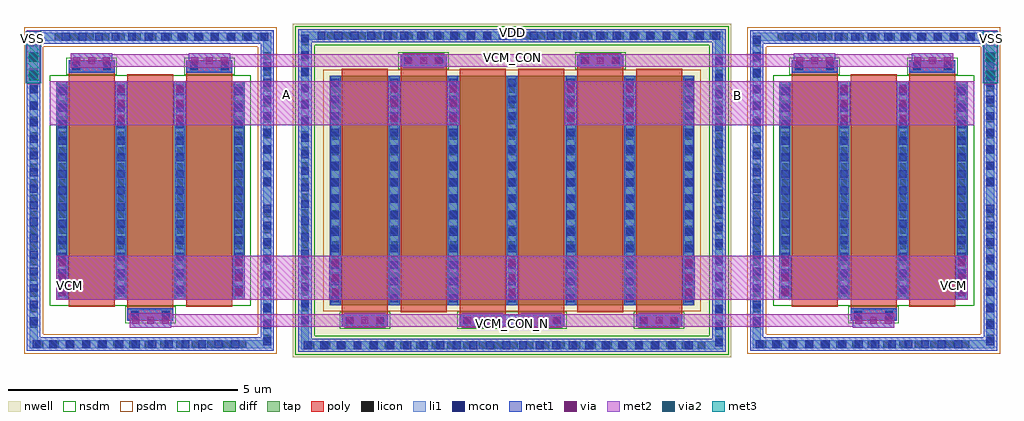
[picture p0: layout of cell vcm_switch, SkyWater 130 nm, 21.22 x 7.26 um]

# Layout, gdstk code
from math import pi, radians
import gdstk
lib = gdstk.Library(unit=1e-6, precision=1e-09)
def R(c, l, rs):  # rectangles x0, y0, x1, y1
    for r in rs: c.add(gdstk.rectangle(r[:2], r[2:], *l))
def A(c, l, x, y, w, h, nx, ny, dx, dy):  # array of equal rectangles
    R(c, l, [(x+i*dx, y+j*dy, x+i*dx+w, y+j*dy+h) for i in range(nx) for j in range(ny)])
nwell = (64, 20)
diff = (65, 20)
tap = (65, 44)
poly = (66, 20)
licon = (66, 44)
li1 = (67, 20)
mcon = (67, 44)
met1 = (68, 20)
via = (68, 44)
met2 = (69, 20)
via2 = (69, 44)
met3 = (70, 20)
nsdm = (93, 44)
psdm = (94, 20)
npc = (95, 20)

pfet_01v8_cdns_788112285 = lib.new_cell('pfet_01v8_CDNS_788112285921')
R(pfet_01v8_cdns_788112285, nwell, [(-0.235,-0.18,1.235,5.18)])
R(pfet_01v8_cdns_788112285, diff, [(-0.055,0,0,5), (0,0,1,5), (1,0,1.055,5)])
R(pfet_01v8_cdns_788112285, poly, [(0,-0.15,1,0), (0,0,1,5), (0,5,1,5.19), (0,5.19,1,5.46)])
R(pfet_01v8_cdns_788112285, licon, [(0.08,5.24,0.25,5.41), (0.75,5.24,0.92,5.41)])
R(pfet_01v8_cdns_788112285, li1, [(0,5.21,1,5.44)])
R(pfet_01v8_cdns_788112285, mcon, [(0.08,5.24,0.25,5.41), (0.75,5.24,0.92,5.41)])
R(pfet_01v8_cdns_788112285, met1, [(0,5.19,1,5.46)])
R(pfet_01v8_cdns_788112285, psdm, [(-0.065,-0.13,1.065,5.13)])
R(pfet_01v8_cdns_788112285, npc, [(-0.05,5.14,1.05,5.51)])

nfet_01v8_cdns_788112285 = lib.new_cell('nfet_01v8_CDNS_788112285922')
R(nfet_01v8_cdns_788112285, diff, [(-0.225,0,0,4.75), (0,0,1,4.75), (1,0,1.055,4.75)])
R(nfet_01v8_cdns_788112285, poly, [(0,-0.46,1,-0.19), (0,-0.19,1,0), (0,0,1,4.75), (0,4.75,1,4.9)])
A(nfet_01v8_cdns_788112285, licon, -0.225, 0.08, 0.17, 0.17, 1, 14, 0, 0.34)
R(nfet_01v8_cdns_788112285, licon, [(0.08,-0.41,0.25,-0.24), (0.75,-0.41,0.92,-0.24)])
R(nfet_01v8_cdns_788112285, li1, [(0,-0.44,1,-0.21), (-0.225,0,-0.055,4.75)])
A(nfet_01v8_cdns_788112285, mcon, -0.225, 0.13, 0.17, 0.17, 1, 13, 0, 0.36)
R(nfet_01v8_cdns_788112285, mcon, [(0.08,-0.41,0.25,-0.24), (0.75,-0.41,0.92,-0.24)])
R(nfet_01v8_cdns_788112285, met1, [(0,-0.46,1,-0.19), (-0.255,0,-0.025,4.75)])
R(nfet_01v8_cdns_788112285, nsdm, [(-0.235,-0.13,1.065,4.88)])
R(nfet_01v8_cdns_788112285, npc, [(-0.05,-0.51,1.05,-0.14)])

c_nfet_01v8_cdns_788112285 = lib.new_cell('nfet_01v8_CDNS_788112285923')
R(c_nfet_01v8_cdns_788112285, diff, [(-0.265,0,0,4.75), (0,0,1,4.75), (1,0,1.225,4.75)])
R(c_nfet_01v8_cdns_788112285, poly, [(0,-0.15,1,0), (0,0,1,4.75), (0,4.75,1,4.94), (0,4.94,1,5.21)])
A(c_nfet_01v8_cdns_788112285, licon, -0.225, 0.08, 0.17, 0.17, 1, 14, 0, 0.34)
A(c_nfet_01v8_cdns_788112285, licon, 1.055, 0.08, 0.17, 0.17, 1, 14, 0, 0.34)
R(c_nfet_01v8_cdns_788112285, licon, [(0.08,4.99,0.25,5.16), (0.75,4.99,0.92,5.16)])
R(c_nfet_01v8_cdns_788112285, li1, [(-0.225,0,-0.055,4.75), (1.055,0,1.225,4.75), (0,4.96,1,5.19)])
A(c_nfet_01v8_cdns_788112285, mcon, -0.225, 0.13, 0.17, 0.17, 1, 13, 0, 0.36)
A(c_nfet_01v8_cdns_788112285, mcon, 1.055, 0.13, 0.17, 0.17, 1, 13, 0, 0.36)
R(c_nfet_01v8_cdns_788112285, mcon, [(0.08,4.99,0.25,5.16), (0.75,4.99,0.92,5.16)])
R(c_nfet_01v8_cdns_788112285, met1, [(-0.255,0,-0.025,4.75), (1.025,0,1.255,4.75), (0,4.94,1,5.21)])
R(c_nfet_01v8_cdns_788112285, nsdm, [(-0.405,-0.13,1.235,4.88)])
R(c_nfet_01v8_cdns_788112285, npc, [(-0.05,4.89,1.05,5.26)])

c_pfet_01v8_cdns_788112285 = lib.new_cell('pfet_01v8_CDNS_788112285924')
R(c_pfet_01v8_cdns_788112285, nwell, [(-0.405,-0.18,1.235,5.18)])
R(c_pfet_01v8_cdns_788112285, diff, [(-0.225,0,0,5), (0,0,1,5), (1,0,1.055,5)])
R(c_pfet_01v8_cdns_788112285, poly, [(0,-0.15,1,0), (0,0,1,5), (0,5,1,5.19), (0,5.19,1,5.46)])
A(c_pfet_01v8_cdns_788112285, licon, -0.225, 0.205, 0.17, 0.17, 1, 14, 0, 0.34)
R(c_pfet_01v8_cdns_788112285, licon, [(0.08,5.24,0.25,5.41), (0.75,5.24,0.92,5.41)])
R(c_pfet_01v8_cdns_788112285, li1, [(-0.225,0,-0.055,5), (0,5.21,1,5.44)])
A(c_pfet_01v8_cdns_788112285, mcon, -0.225, 0.075, 0.17, 0.17, 1, 14, 0, 0.36)
R(c_pfet_01v8_cdns_788112285, mcon, [(0.08,5.24,0.25,5.41), (0.75,5.24,0.92,5.41)])
R(c_pfet_01v8_cdns_788112285, met1, [(-0.255,0,-0.025,5), (0,5.19,1,5.46)])
R(c_pfet_01v8_cdns_788112285, psdm, [(-0.235,-0.13,1.065,5.13)])
R(c_pfet_01v8_cdns_788112285, npc, [(-0.05,5.14,1.05,5.51)])

c_pfet_01v8_cdns_788112285_ = lib.new_cell('pfet_01v8_CDNS_788112285925')
R(c_pfet_01v8_cdns_788112285_, nwell, [(-0.405,-0.18,1.445,5.18)])
R(c_pfet_01v8_cdns_788112285_, diff, [(-0.225,0,0,5), (0,0,1,5), (1,0,1.265,5)])
R(c_pfet_01v8_cdns_788112285_, poly, [(0,-0.46,1,-0.19), (0,-0.19,1,0), (0,0,1,5), (0,5,1,5.15)])
A(c_pfet_01v8_cdns_788112285_, licon, -0.225, 0.205, 0.17, 0.17, 1, 14, 0, 0.34)
A(c_pfet_01v8_cdns_788112285_, licon, 1.055, 0.205, 0.17, 0.17, 1, 14, 0, 0.34)
R(c_pfet_01v8_cdns_788112285_, licon, [(0.08,-0.41,0.25,-0.24), (0.75,-0.41,0.92,-0.24)])
R(c_pfet_01v8_cdns_788112285_, li1, [(0,-0.44,1,-0.21), (-0.225,0,-0.055,5), (1.055,0,1.225,5)])
A(c_pfet_01v8_cdns_788112285_, mcon, -0.225, 0.075, 0.17, 0.17, 1, 14, 0, 0.36)
A(c_pfet_01v8_cdns_788112285_, mcon, 1.055, 0.075, 0.17, 0.17, 1, 14, 0, 0.36)
R(c_pfet_01v8_cdns_788112285_, mcon, [(0.08,-0.41,0.25,-0.24), (0.75,-0.41,0.92,-0.24)])
R(c_pfet_01v8_cdns_788112285_, met1, [(0,-0.46,1,-0.19), (-0.255,0,-0.025,5), (1.025,0,1.255,5)])
R(c_pfet_01v8_cdns_788112285_, psdm, [(-0.235,-0.13,1.405,5.13)])
R(c_pfet_01v8_cdns_788112285_, npc, [(-0.05,-0.51,1.05,-0.14)])

c_pfet_01v8_cdns_788112285__ = lib.new_cell('pfet_01v8_CDNS_788112285926')
R(c_pfet_01v8_cdns_788112285__, nwell, [(-0.235,-0.18,1.235,5.18)])
R(c_pfet_01v8_cdns_788112285__, diff, [(-0.055,0,0,5), (0,0,1,5), (1,0,1.055,5)])
R(c_pfet_01v8_cdns_788112285__, poly, [(0,-0.46,1,-0.19), (0,-0.19,1,0), (0,0,1,5), (0,5,1,5.15)])
R(c_pfet_01v8_cdns_788112285__, licon, [(0.08,-0.41,0.25,-0.24), (0.75,-0.41,0.92,-0.24)])
R(c_pfet_01v8_cdns_788112285__, li1, [(0,-0.44,1,-0.21)])
R(c_pfet_01v8_cdns_788112285__, mcon, [(0.08,-0.41,0.25,-0.24), (0.75,-0.41,0.92,-0.24)])
R(c_pfet_01v8_cdns_788112285__, met1, [(0,-0.46,1,-0.19)])
R(c_pfet_01v8_cdns_788112285__, psdm, [(-0.065,-0.13,1.065,5.13)])
R(c_pfet_01v8_cdns_788112285__, npc, [(-0.05,-0.51,1.05,-0.14)])

c_pfet_01v8_cdns_788112285___ = lib.new_cell('pfet_01v8_CDNS_788112285927')
R(c_pfet_01v8_cdns_788112285___, nwell, [(-0.405,-0.18,1.405,5.18)])
R(c_pfet_01v8_cdns_788112285___, diff, [(-0.225,0,0,5), (0,0,1,5), (1,0,1.225,5)])
R(c_pfet_01v8_cdns_788112285___, poly, [(0,-0.46,1,-0.19), (0,-0.19,1,0), (0,0,1,5), (0,5,1,5.15)])
A(c_pfet_01v8_cdns_788112285___, licon, -0.225, 0.205, 0.17, 0.17, 1, 14, 0, 0.34)
A(c_pfet_01v8_cdns_788112285___, licon, 1.055, 0.205, 0.17, 0.17, 1, 14, 0, 0.34)
R(c_pfet_01v8_cdns_788112285___, licon, [(0.08,-0.41,0.25,-0.24), (0.75,-0.41,0.92,-0.24)])
R(c_pfet_01v8_cdns_788112285___, li1, [(0,-0.44,1,-0.21), (-0.225,0,-0.055,5), (1.055,0,1.225,5)])
A(c_pfet_01v8_cdns_788112285___, mcon, -0.225, 0.075, 0.17, 0.17, 1, 14, 0, 0.36)
A(c_pfet_01v8_cdns_788112285___, mcon, 1.055, 0.075, 0.17, 0.17, 1, 14, 0, 0.36)
R(c_pfet_01v8_cdns_788112285___, mcon, [(0.08,-0.41,0.25,-0.24), (0.75,-0.41,0.92,-0.24)])
R(c_pfet_01v8_cdns_788112285___, met1, [(0,-0.46,1,-0.19), (-0.255,0,-0.025,5), (1.025,0,1.255,5)])
R(c_pfet_01v8_cdns_788112285___, psdm, [(-0.235,-0.13,1.235,5.13)])
R(c_pfet_01v8_cdns_788112285___, npc, [(-0.05,-0.51,1.05,-0.14)])

c_pfet_01v8_cdns_788112285____ = lib.new_cell('pfet_01v8_CDNS_788112285928')
R(c_pfet_01v8_cdns_788112285____, nwell, [(-0.405,-0.18,1.445,5.18)])
R(c_pfet_01v8_cdns_788112285____, diff, [(-0.225,0,0,5), (0,0,1,5), (1,0,1.265,5)])
R(c_pfet_01v8_cdns_788112285____, poly, [(0,-0.46,1,-0.19), (0,-0.19,1,0), (0,0,1,5), (0,5,1,5.15)])
A(c_pfet_01v8_cdns_788112285____, licon, -0.225, 0.205, 0.17, 0.17, 1, 14, 0, 0.34)
A(c_pfet_01v8_cdns_788112285____, licon, 1.055, 0.205, 0.17, 0.17, 1, 14, 0, 0.34)
R(c_pfet_01v8_cdns_788112285____, licon, [(0.08,-0.41,0.25,-0.24), (0.75,-0.41,0.92,-0.24)])
R(c_pfet_01v8_cdns_788112285____, li1, [(0,-0.44,1,-0.21), (-0.225,0,-0.055,5), (1.055,0,1.225,5)])
A(c_pfet_01v8_cdns_788112285____, mcon, -0.225, 0.075, 0.17, 0.17, 1, 14, 0, 0.36)
A(c_pfet_01v8_cdns_788112285____, mcon, 1.055, 0.075, 0.17, 0.17, 1, 14, 0, 0.36)
R(c_pfet_01v8_cdns_788112285____, mcon, [(0.08,-0.41,0.25,-0.24), (0.75,-0.41,0.92,-0.24)])
R(c_pfet_01v8_cdns_788112285____, met1, [(0,-0.46,1,-0.19), (-0.255,0,-0.025,5), (1.025,0,1.255,5)])
R(c_pfet_01v8_cdns_788112285____, psdm, [(-0.235,-0.13,1.405,5.13)])
R(c_pfet_01v8_cdns_788112285____, npc, [(-0.05,-0.51,1.05,-0.14)])

c_nfet_01v8_cdns_788112285_ = lib.new_cell('nfet_01v8_CDNS_788112285929')
R(c_nfet_01v8_cdns_788112285_, diff, [(-0.055,0,0,4.75), (0,0,1,4.75), (1,0,1.055,4.75)])
R(c_nfet_01v8_cdns_788112285_, poly, [(0,-0.46,1,-0.19), (0,-0.19,1,0), (0,0,1,4.75), (0,4.75,1,4.9)])
R(c_nfet_01v8_cdns_788112285_, licon, [(0.08,-0.41,0.25,-0.24), (0.75,-0.41,0.92,-0.24)])
R(c_nfet_01v8_cdns_788112285_, li1, [(0,-0.44,1,-0.21)])
R(c_nfet_01v8_cdns_788112285_, mcon, [(0.08,-0.41,0.25,-0.24), (0.75,-0.41,0.92,-0.24)])
R(c_nfet_01v8_cdns_788112285_, met1, [(0,-0.46,1,-0.19)])
R(c_nfet_01v8_cdns_788112285_, nsdm, [(-0.065,-0.13,1.065,4.88)])
R(c_nfet_01v8_cdns_788112285_, npc, [(-0.05,-0.51,1.05,-0.14)])

c_nfet_01v8_cdns_788112285__ = lib.new_cell('nfet_01v8_CDNS_7881122859210')
R(c_nfet_01v8_cdns_788112285__, diff, [(-0.265,0,0,4.75), (0,0,1,4.75), (1,0,1.055,4.75)])
R(c_nfet_01v8_cdns_788112285__, poly, [(0,-0.15,1,0), (0,0,1,4.75), (0,4.75,1,4.94), (0,4.94,1,5.21)])
A(c_nfet_01v8_cdns_788112285__, licon, -0.225, 0.08, 0.17, 0.17, 1, 14, 0, 0.34)
R(c_nfet_01v8_cdns_788112285__, licon, [(0.08,4.99,0.25,5.16), (0.75,4.99,0.92,5.16)])
R(c_nfet_01v8_cdns_788112285__, li1, [(-0.225,0,-0.055,4.75), (0,4.96,1,5.19)])
A(c_nfet_01v8_cdns_788112285__, mcon, -0.225, 0.13, 0.17, 0.17, 1, 13, 0, 0.36)
R(c_nfet_01v8_cdns_788112285__, mcon, [(0.08,4.99,0.25,5.16), (0.75,4.99,0.92,5.16)])
R(c_nfet_01v8_cdns_788112285__, met1, [(-0.255,0,-0.025,4.75), (0,4.94,1,5.21)])
R(c_nfet_01v8_cdns_788112285__, nsdm, [(-0.405,-0.13,1.065,4.88)])
R(c_nfet_01v8_cdns_788112285__, npc, [(-0.05,4.89,1.05,5.26)])

c_nfet_01v8_cdns_788112285___ = lib.new_cell('nfet_01v8_CDNS_7881122859211')
R(c_nfet_01v8_cdns_788112285___, diff, [(-0.265,0,0,4.75), (0,0,1,4.75), (1,0,1.225,4.75)])
R(c_nfet_01v8_cdns_788112285___, poly, [(0,-0.15,1,0), (0,0,1,4.75), (0,4.75,1,4.94), (0,4.94,1,5.21)])
A(c_nfet_01v8_cdns_788112285___, licon, -0.225, 0.08, 0.17, 0.17, 1, 14, 0, 0.34)
A(c_nfet_01v8_cdns_788112285___, licon, 1.055, 0.08, 0.17, 0.17, 1, 14, 0, 0.34)
R(c_nfet_01v8_cdns_788112285___, licon, [(0.08,4.99,0.25,5.16), (0.75,4.99,0.92,5.16)])
R(c_nfet_01v8_cdns_788112285___, li1, [(-0.225,0,-0.055,4.75), (1.055,0,1.225,4.75), (0,4.96,1,5.19)])
A(c_nfet_01v8_cdns_788112285___, mcon, -0.225, 0.13, 0.17, 0.17, 1, 13, 0, 0.36)
A(c_nfet_01v8_cdns_788112285___, mcon, 1.055, 0.13, 0.17, 0.17, 1, 13, 0, 0.36)
R(c_nfet_01v8_cdns_788112285___, mcon, [(0.08,4.99,0.25,5.16), (0.75,4.99,0.92,5.16)])
R(c_nfet_01v8_cdns_788112285___, met1, [(-0.255,0,-0.025,4.75), (1.025,0,1.255,4.75), (0,4.94,1,5.21)])
R(c_nfet_01v8_cdns_788112285___, nsdm, [(-0.405,-0.13,1.235,4.88)])
R(c_nfet_01v8_cdns_788112285___, npc, [(-0.05,4.89,1.05,5.26)])

vcm_switch = lib.new_cell('vcm_switch')
R(vcm_switch, nwell, [(6.375,0.53,14.845,6.73), (6.465,0.95,14.755,6.31)])
A(vcm_switch, licon, 6.145, 0.18, 0.17, 0.17, 26, 1, 0.34, 0)
A(vcm_switch, licon, 0.245, 0.205, 0.17, 0.17, 14, 1, 0.34, 0)
A(vcm_switch, licon, 15.965, 0.205, 0.17, 0.17, 14, 1, 0.34, 0)
A(vcm_switch, licon, 15.025, 0.3, 0.17, 0.17, 1, 19, 0, 0.34)
A(vcm_switch, licon, 5.205, 0.325, 0.17, 0.17, 1, 9, 0, 0.34)
A(vcm_switch, licon, 20.925, 0.325, 0.17, 0.17, 1, 9, 0, 0.34)
A(vcm_switch, licon, 0.125, 0.645, 0.17, 0.17, 1, 19, 0, 0.34)
A(vcm_switch, licon, 15.845, 0.645, 0.17, 0.17, 1, 19, 0, 0.34)
A(vcm_switch, licon, 6.025, 0.67, 0.17, 0.17, 1, 19, 0, 0.34)
A(vcm_switch, licon, 5.205, 3.75, 0.17, 0.17, 1, 9, 0, 0.34)
A(vcm_switch, licon, 20.925, 3.75, 0.17, 0.17, 1, 9, 0, 0.34)
A(vcm_switch, licon, 0.665, 6.885, 0.17, 0.17, 14, 1, 0.34, 0)
A(vcm_switch, licon, 16.385, 6.885, 0.17, 0.17, 14, 1, 0.34, 0)
A(vcm_switch, licon, 6.58, 6.91, 0.17, 0.17, 12, 1, 0.34, 0)
A(vcm_switch, licon, 10.825, 6.91, 0.17, 0.17, 13, 1, 0.34, 0)
A(vcm_switch, mcon, 6.085, 0.18, 0.17, 0.17, 24, 1, 0.36, 0)
A(vcm_switch, mcon, 0.185, 0.205, 0.17, 0.17, 13, 1, 0.36, 0)
A(vcm_switch, mcon, 15.905, 0.205, 0.17, 0.17, 13, 1, 0.36, 0)
A(vcm_switch, mcon, 15.025, 0.24, 0.17, 0.17, 1, 18, 0, 0.36)
A(vcm_switch, mcon, 5.205, 0.265, 0.17, 0.17, 1, 9, 0, 0.36)
A(vcm_switch, mcon, 20.925, 0.265, 0.17, 0.17, 1, 9, 0, 0.36)
A(vcm_switch, mcon, 0.125, 0.705, 0.17, 0.17, 1, 18, 0, 0.36)
A(vcm_switch, mcon, 15.845, 0.705, 0.17, 0.17, 1, 18, 0, 0.36)
A(vcm_switch, mcon, 6.025, 0.73, 0.17, 0.17, 1, 18, 0, 0.36)
A(vcm_switch, mcon, 5.205, 3.725, 0.17, 0.17, 1, 8, 0, 0.36)
A(vcm_switch, mcon, 20.925, 3.725, 0.17, 0.17, 1, 8, 0, 0.36)
A(vcm_switch, mcon, 0.825, 6.885, 0.17, 0.17, 13, 1, 0.36, 0)
A(vcm_switch, mcon, 16.545, 6.885, 0.17, 0.17, 13, 1, 0.36, 0)
A(vcm_switch, mcon, 6.385, 6.91, 0.17, 0.17, 12, 1, 0.36, 0)
A(vcm_switch, mcon, 11.005, 6.91, 0.17, 0.17, 12, 1, 0.36, 0)
A(vcm_switch, met1, 6.64, 1.255, 0.26, 0.96, 3, 1, 3.84, 0)
R(vcm_switch, met1, [(2.3,0.645,3.2,0.965), (6.96,0.645,7.86,0.965), (9.52,0.645,10.42,0.965), (10.8,0.645,11.7,0.965), (13.36,0.645,14.26,0.965), (18.02,0.645,18.92,0.965), (0.7,1.255,0.96,2.215), (4.54,1.255,4.8,2.215), (16.42,1.255,16.68,2.215), (20.26,1.255,20.52,2.215), (1.98,5.045,2.24,6.005), (3.26,5.045,3.52,6.005), (7.92,5.045,8.18,6.005), (9.2,5.045,9.46,6.005), (11.76,5.045,12.02,6.005), (13.04,5.045,13.3,6.005), (17.7,5.045,17.96,6.005), (18.98,5.045,19.24,6.005), (0.075,6.03,0.335,7.03), (20.885,6.03,21.145,7.03), (1.02,6.295,1.92,6.615), (3.58,6.295,4.48,6.615), (8.24,6.295,9.14,6.615), (12.08,6.295,12.98,6.615), (16.74,6.295,17.64,6.615), (19.3,6.295,20.2,6.615), (10.54,7,10.68,7.14)])
A(vcm_switch, via, 2.355, 0.73, 0.15, 0.15, 3, 1, 0.32, 0)
A(vcm_switch, via, 7.015, 0.73, 0.15, 0.15, 3, 1, 0.32, 0)
A(vcm_switch, via, 9.575, 0.73, 0.15, 0.15, 3, 1, 0.32, 0)
A(vcm_switch, via, 10.855, 0.73, 0.15, 0.15, 3, 1, 0.32, 0)
A(vcm_switch, via, 13.415, 0.73, 0.15, 0.15, 3, 1, 0.32, 0)
A(vcm_switch, via, 18.075, 0.73, 0.15, 0.15, 3, 1, 0.32, 0)
A(vcm_switch, via, 0.755, 1.34, 0.15, 0.15, 1, 3, 0, 0.32)
A(vcm_switch, via, 4.595, 1.34, 0.15, 0.15, 1, 3, 0, 0.32)
A(vcm_switch, via, 6.695, 1.34, 0.15, 0.15, 3, 3, 3.84, 0.32)
A(vcm_switch, via, 16.475, 1.34, 0.15, 0.15, 1, 3, 0, 0.32)
A(vcm_switch, via, 20.315, 1.34, 0.15, 0.15, 1, 3, 0, 0.32)
A(vcm_switch, via, 2.035, 5.13, 0.15, 0.15, 1, 3, 0, 0.32)
A(vcm_switch, via, 3.315, 5.13, 0.15, 0.15, 1, 3, 0, 0.32)
A(vcm_switch, via, 7.975, 5.13, 0.15, 0.15, 1, 3, 0, 0.32)
A(vcm_switch, via, 9.255, 5.13, 0.15, 0.15, 1, 3, 0, 0.32)
A(vcm_switch, via, 11.815, 5.13, 0.15, 0.15, 1, 3, 0, 0.32)
A(vcm_switch, via, 13.095, 5.13, 0.15, 0.15, 1, 3, 0, 0.32)
A(vcm_switch, via, 17.755, 5.13, 0.15, 0.15, 1, 3, 0, 0.32)
A(vcm_switch, via, 19.035, 5.13, 0.15, 0.15, 1, 3, 0, 0.32)
A(vcm_switch, via, 0.13, 6.135, 0.15, 0.15, 1, 3, 0, 0.32)
A(vcm_switch, via, 20.94, 6.135, 0.15, 0.15, 1, 3, 0, 0.32)
A(vcm_switch, via, 1.075, 6.38, 0.15, 0.15, 3, 1, 0.32, 0)
A(vcm_switch, via, 3.635, 6.38, 0.15, 0.15, 3, 1, 0.32, 0)
A(vcm_switch, via, 8.295, 6.38, 0.15, 0.15, 3, 1, 0.32, 0)
A(vcm_switch, via, 12.135, 6.38, 0.15, 0.15, 3, 1, 0.32, 0)
A(vcm_switch, via, 16.795, 6.38, 0.15, 0.15, 3, 1, 0.32, 0)
A(vcm_switch, via, 19.355, 6.38, 0.15, 0.15, 3, 1, 0.32, 0)
A(vcm_switch, met2, 6.64, 1.255, 0.26, 0.96, 3, 1, 3.84, 0)
R(vcm_switch, met2, [(2.3,0.645,3.2,0.965), (6.96,0.645,7.86,0.965), (9.52,0.645,10.42,0.965), (10.8,0.645,11.7,0.965), (13.36,0.645,14.26,0.965), (18.02,0.645,18.92,0.965), (10.54,0.67,10.68,0.81), (0.7,1.255,0.96,2.215), (0.7,1.255,1.3,1.855), (4.54,1.255,4.8,2.215), (16.42,1.255,16.68,2.215), (19.92,1.255,20.52,1.855), (20.26,1.255,20.52,2.215), (1.98,5.045,2.24,6.005), (3.26,5.045,3.52,6.005), (7.92,5.045,8.18,6.005), (9.2,5.045,9.46,6.005), (11.76,5.045,12.02,6.005), (13.04,5.045,13.3,6.005), (17.7,5.045,17.96,6.005), (18.98,5.045,19.24,6.005), (5.4,5.405,6,6.005), (15.22,5.405,15.82,6.005), (0.065,5.945,0.345,7.115), (0.065,5.945,0.345,7.115), (20.875,5.945,21.155,7.115), (20.875,5.945,21.155,7.115), (1.02,6.295,1.92,6.615), (3.58,6.295,4.48,6.615), (8.24,6.295,9.14,6.615), (12.08,6.295,12.98,6.615), (16.74,6.295,17.64,6.615), (19.3,6.295,20.2,6.615), (10.54,6.45,10.68,6.59)])
A(vcm_switch, via2, 0.105, 6.03, 0.2, 0.2, 1, 3, 0, 0.4)
A(vcm_switch, via2, 20.915, 6.03, 0.2, 0.2, 1, 3, 0, 0.4)
R(vcm_switch, met3, [(0.04,5.965,0.37,7.095), (20.85,5.965,21.18,7.095), (0.04,6.795,0.34,7.095), (20.88,6.795,21.18,7.095)])
R(vcm_switch, npc, [(10.52,0.62,10.7,0.99)])
vcm_switch.add(gdstk.FlexPath([(10.47,0.805),(10.75,0.805)], 0.23, ends="flush", simple_path=True, layer=67, datatype=20))  # li1
vcm_switch.add(gdstk.FlexPath([(5.29,3.63),(5.29,6.97),(0.21,6.97),(0.21,0.29),(5.29,0.29),(5.29,3.63)], 0.17, ends="flush", simple_path=True, layer=67, datatype=20))  # li1
vcm_switch.add(gdstk.FlexPath([(21.01,3.63),(21.01,6.97),(15.93,6.97),(15.93,0.29),(21.01,0.29),(21.01,3.63)], 0.17, ends="flush", simple_path=True, layer=67, datatype=20))  # li1
vcm_switch.add(gdstk.FlexPath([(10.61,6.995),(6.11,6.995),(6.11,0.265),(15.11,0.265),(15.11,6.995),(10.61,6.995)], 0.17, ends="flush", simple_path=True, layer=67, datatype=20))  # li1
vcm_switch.add(gdstk.FlexPath([(5.29,3.63),(5.29,6.97),(0.21,6.97),(0.21,0.29),(5.29,0.29),(5.29,3.63)], 0.42, ends="flush", simple_path=True, layer=94, datatype=20))  # psdm
vcm_switch.add(gdstk.FlexPath([(21.01,3.63),(21.01,6.97),(15.93,6.97),(15.93,0.29),(21.01,0.29),(21.01,3.63)], 0.42, ends="flush", simple_path=True, layer=94, datatype=20))  # psdm
vcm_switch.add(gdstk.FlexPath([(10.61,6.995),(6.11,6.995),(6.11,0.265),(15.11,0.265),(15.11,6.995),(10.61,6.995)], 0.53, ends="flush", simple_path=True, layer=64, datatype=20))  # nwell
vcm_switch.add(gdstk.FlexPath([(10.61,6.995),(6.11,6.995),(6.11,0.265),(15.11,0.265),(15.11,6.995),(10.61,6.995)], 0.42, ends="flush", simple_path=True, layer=93, datatype=44))  # nsdm
vcm_switch.add(gdstk.FlexPath([(10.47,0.805),(10.75,0.805)], 0.27, ends="flush", simple_path=True, layer=68, datatype=20))  # met1
vcm_switch.add(gdstk.FlexPath([(5.29,3.63),(5.29,6.97),(0.21,6.97),(0.21,0.29),(5.29,0.29),(5.29,3.63)], 0.29, ends="flush", simple_path=True, layer=68, datatype=20))  # met1
vcm_switch.add(gdstk.FlexPath([(21.01,3.63),(21.01,6.97),(15.93,6.97),(15.93,0.29),(21.01,0.29),(21.01,3.63)], 0.29, ends="flush", simple_path=True, layer=68, datatype=20))  # met1
vcm_switch.add(gdstk.FlexPath([(10.61,6.995),(6.11,6.995),(6.11,0.265),(15.11,0.265),(15.11,6.995),(10.61,6.995)], 0.29, ends="flush", simple_path=True, layer=68, datatype=20))  # met1
vcm_switch.add(gdstk.FlexPath([(21.01,3.63),(21.01,6.97),(15.93,6.97),(15.93,0.29),(21.01,0.29),(21.01,3.63)], 0.17, ends="flush", simple_path=True, layer=65, datatype=44))  # tap
vcm_switch.add(gdstk.FlexPath([(5.29,3.63),(5.29,6.97),(0.21,6.97),(0.21,0.29),(5.29,0.29),(5.29,3.63)], 0.17, ends="flush", simple_path=True, layer=65, datatype=44))  # tap
vcm_switch.add(gdstk.FlexPath([(10.61,6.995),(6.11,6.995),(6.11,0.265),(15.11,0.265),(15.11,6.995),(10.61,6.995)], 0.17, ends="flush", simple_path=True, layer=65, datatype=44))  # tap
vcm_switch.add(gdstk.FlexPath([(16.55,1.735),(20.39,1.735)], 0.96, ends="flush", simple_path=True, layer=69, datatype=20))  # met2
vcm_switch.add(gdstk.FlexPath([(14.45,1.735),(16.55,1.735)], 0.96, ends="flush", simple_path=True, layer=69, datatype=20))  # met2
vcm_switch.add(gdstk.FlexPath([(10.61,1.735),(14.45,1.735)], 0.96, ends="flush", simple_path=True, layer=69, datatype=20))  # met2
vcm_switch.add(gdstk.FlexPath([(6.77,1.735),(10.61,1.735)], 0.96, ends="flush", simple_path=True, layer=69, datatype=20))  # met2
vcm_switch.add(gdstk.FlexPath([(4.67,1.735),(6.77,1.735)], 0.96, ends="flush", simple_path=True, layer=69, datatype=20))  # met2
vcm_switch.add(gdstk.FlexPath([(0.83,1.735),(4.67,1.735)], 0.96, ends="flush", simple_path=True, layer=69, datatype=20))  # met2
vcm_switch.add(gdstk.FlexPath([(0.565,5.525),(9.47,5.525)], 0.96, ends="flush", simple_path=True, layer=69, datatype=20))  # met2
vcm_switch.add(gdstk.FlexPath([(20.655,5.525),(11.75,5.525)], 0.96, ends="flush", simple_path=True, layer=69, datatype=20))  # met2
vcm_switch.add(gdstk.FlexPath([(4.03,6.455),(1.47,6.455)], 0.27, ends="flush", simple_path=True, layer=69, datatype=20))  # met2
vcm_switch.add(gdstk.FlexPath([(8.69,6.455),(4.03,6.455)], 0.27, ends="flush", simple_path=True, layer=69, datatype=20))  # met2
vcm_switch.add(gdstk.FlexPath([(7.41,0.805),(2.75,0.805)], 0.27, ends="flush", simple_path=True, layer=69, datatype=20))  # met2
vcm_switch.add(gdstk.FlexPath([(7.41,0.805),(9.97,0.805)], 0.27, ends="flush", simple_path=True, layer=69, datatype=20))  # met2
vcm_switch.add(gdstk.FlexPath([(9.97,0.805),(11.25,0.805)], 0.27, ends="flush", simple_path=True, layer=69, datatype=20))  # met2
vcm_switch.add(gdstk.FlexPath([(11.25,0.805),(13.81,0.805)], 0.27, ends="flush", simple_path=True, layer=69, datatype=20))  # met2
vcm_switch.add(gdstk.FlexPath([(13.81,0.805),(18.47,0.805)], 0.27, ends="flush", simple_path=True, layer=69, datatype=20))  # met2
vcm_switch.add(gdstk.FlexPath([(17.19,6.455),(19.75,6.455)], 0.27, ends="flush", simple_path=True, layer=69, datatype=20))  # met2
vcm_switch.add(gdstk.FlexPath([(12.53,6.455),(8.69,6.455)], 0.27, ends="flush", simple_path=True, layer=69, datatype=20))  # met2
vcm_switch.add(gdstk.FlexPath([(17.19,6.455),(12.53,6.455)], 0.27, ends="flush", simple_path=True, layer=69, datatype=20))  # met2
vcm_switch.add(gdstk.Reference(pfet_01v8_cdns_788112285, (13.03,1.13), rotation=pi, x_reflection=True))
vcm_switch.add(gdstk.Reference(nfet_01v8_cdns_788112285, (3.25,1.255), rotation=pi, x_reflection=True))
vcm_switch.add(gdstk.Reference(c_nfet_01v8_cdns_788112285, (16.69,1.255)))
vcm_switch.add(gdstk.Reference(c_nfet_01v8_cdns_788112285, (0.97,1.255)))
vcm_switch.add(gdstk.Reference(c_pfet_01v8_cdns_788112285, (9.19,1.13), rotation=pi, x_reflection=True))
vcm_switch.add(gdstk.Reference(c_pfet_01v8_cdns_788112285_, (7.91,1.13), rotation=pi, x_reflection=True))
vcm_switch.add(gdstk.Reference(c_pfet_01v8_cdns_788112285__, (9.47,1.13)))
vcm_switch.add(gdstk.Reference(c_pfet_01v8_cdns_788112285___, (11.75,1.13), rotation=pi, x_reflection=True))
vcm_switch.add(gdstk.Reference(c_pfet_01v8_cdns_788112285____, (13.31,1.13)))
vcm_switch.add(gdstk.Reference(c_nfet_01v8_cdns_788112285_, (18.97,1.255), rotation=pi, x_reflection=True))
vcm_switch.add(gdstk.Reference(c_nfet_01v8_cdns_788112285__, (4.53,1.255), rotation=pi, x_reflection=True))
vcm_switch.add(gdstk.Reference(c_nfet_01v8_cdns_788112285___, (20.25,1.255), rotation=pi, x_reflection=True))
vcm_switch.add(gdstk.Label('VCM', (20.21,1.555), layer=69, texttype=5))
vcm_switch.add(gdstk.Label('VCM', (0.99,1.555), layer=69, texttype=5))
vcm_switch.add(gdstk.Label('VCM_CON', (10.61,6.52), layer=69, texttype=5))
vcm_switch.add(gdstk.Label('VCM_CON_N', (10.61,0.74), layer=69, texttype=5))
vcm_switch.add(gdstk.Label('B', (15.515,5.705), layer=69, texttype=5))
vcm_switch.add(gdstk.Label('A', (5.71,5.725), layer=69, texttype=5))
vcm_switch.add(gdstk.Label('VSS', (21.03,6.945), layer=70, texttype=5))
vcm_switch.add(gdstk.Label('VSS', (0.19,6.945), layer=70, texttype=5))
vcm_switch.add(gdstk.Label('VDD', (10.61,7.07), layer=68, texttype=5))

lib.write_gds('vcm_switch.gds')
